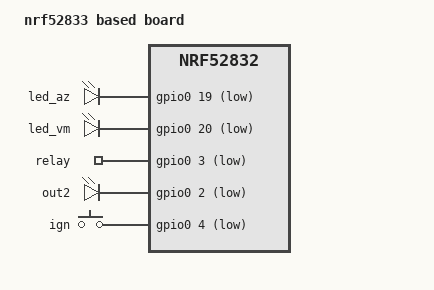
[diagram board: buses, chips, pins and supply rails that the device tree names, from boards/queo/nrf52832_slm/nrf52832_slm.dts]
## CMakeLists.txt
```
#
# Copyright (c) 2018 Nordic Semiconductor
#
# SPDX-License-Identifier: LicenseRef-Nordic-5-Clause
#
cmake_minimum_required(VERSION 3.20.0)

find_package(Zephyr REQUIRED HINTS $ENV{ZEPHYR_BASE})
project(peripheral_lbs_2)

# NORDIC SDK APP START
target_sources(app PRIVATE
  src/main.c
  src/timekeeper.c
)

# NORDIC SDK APP END
```

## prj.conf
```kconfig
CONFIG_GPIO=y
CONFIG_SERIAL=y
CONFIG_CONSOLE=y
CONFIG_UART_CONSOLE=y
CONFIG_LOG=y
# Habilita o driver de PWM
CONFIG_PWM=y

# Habilita o log do sistema (recomendado para ver os LOG_INF)
CONFIG_LOG=y
CONFIG_BT=y
CONFIG_BT_PERIPHERAL=y
CONFIG_BT_DEVICE_NAME="smart-lock-nrf52832"
CONFIG_BT_MAX_CONN=1

# Configurações de Identidade e NVS (Essencial para visibilidade)
CONFIG_BT_SETTINGS=y
CONFIG_FLASH=y
CONFIG_FLASH_MAP=y
CONFIG_NVS=y
CONFIG_SETTINGS=y
CONFIG_BT_ID_MAX=1

# Ajustes de Stack para ESP32-C3 v4.3.99
CONFIG_SYSTEM_WORKQUEUE_STACK_SIZE=4096
CONFIG_BT_RX_STACK_SIZE=4096
CONFIG_BT_HCI_TX_STACK_SIZE=1024
CONFIG_MAIN_STACK_SIZE=4096

# Log imediato para facilitar o debug
CONFIG_LOG_MODE_IMMEDIATE=y

# Potência de rádio (Remova o PLUS_9 se notar instabilidade)
CONFIG_BT_CTLR_TX_PWR_PLUS_3=y

# Memória extra para evitar o "CPU exception"
CONFIG_MAIN_STACK_SIZE=4096
CONFIG_SYSTEM_WORKQUEUE_STACK_SIZE=4096
CONFIG_BT_RX_STACK_SIZE=4096

# Melhora a prioridade do log para não atrasar a stack BT
CONFIG_LOG_MODE_DEFERRED=y
CONFIG_LOG_BUFFER_SIZE=2048

# Reduz a potência para estabilizar o consumo de corrente (evita Brownout)
CONFIG_BT_CTLR_TX_PWR_PLUS_3=y

CONFIG_NEWLIB_LIBC=n
CONFIG_PICOLIBC=y

CONFIG_MINIMAL_LIBC=n
```

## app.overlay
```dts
/* app.overlay */
/ {
	aliases {
		led2 = &led2;       /* Relé (P0.03) */
		ignition = &button0; /* Entrada de Ignição (P0.04) */
	};
};

&button0 {
	gpios = <&gpio0 4 GPIO_ACTIVE_HIGH>; 
	label = "IGN_INPUT";
};
```

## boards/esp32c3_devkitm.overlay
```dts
/ {
	aliases {
		led0 = &user_led0;
		led1 = &user_led1;
		led2 = &user_led2;
		sw0  = &user_button0;
	};

	/* Exemplo: LEDs externos em GPIOs */
	user_led0: led_0 {
		gpios = <&gpio0 8 GPIO_ACTIVE_HIGH>;
		label = "RUN_LED";
	};

	user_led1: led_1 {
		gpios = <&gpio0 9 GPIO_ACTIVE_HIGH>;
		label = "CONN_LED";
	};

	user_led2: led_2 {
		gpios = <&gpio0 10 GPIO_ACTIVE_HIGH>;
		label = "USER_LED";
	};

	user_button0: button_0 {
		gpios = <&gpio0 3 (GPIO_ACTIVE_LOW | GPIO_PULL_UP)>;
		label = "USER_BUTTON";
	};
};
```

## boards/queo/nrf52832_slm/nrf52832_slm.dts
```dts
/dts-v1/;
#include <nordic/nrf52832_qfaa.dtsi>
#include "nrf52832_slm-pinctrl.dtsi"

/ {
	model = "nrf52833 based board";
	compatible = "queo,nrf52832_slm";

	chosen {
		zephyr,sram = &sram0;
		zephyr,flash = &flash0;
		zephyr,code-partition = &slot0_partition;
	};

	leds {
		compatible = "gpio-leds";
		led1: led_1 {
			label = "led_az";
			gpios = <&gpio0 19 (GPIO_ACTIVE_LOW)>;
		};

		led0: led_0 {
			label = "led_vm";
			gpios = <&gpio0 20 (GPIO_ACTIVE_LOW)>;
		};

		led2: led_2 {
			label = "relay";
			gpios = <&gpio0 3 (GPIO_ACTIVE_LOW)>;
		};

		led3: led_3 {
			label = "out2";
			gpios = <&gpio0 2 (GPIO_ACTIVE_LOW)>;
		};
	};

	buttons {
		compatible = "gpio-keys";
		button0: button_0 {
			label = "ign";
			gpios = <&gpio0 4 (GPIO_ACTIVE_LOW | GPIO_PULL_UP)>;
			zephyr,code = <INPUT_KEY_0>;
		};
	};

	/* These aliases are provided for compatibility with samples */
	aliases {
		led0 = &led0;
		led1 = &led1;
		led2 = &led2;
		led3 = &led3;
		sw0 = &button0;
	};
};

&flash0 {
	partitions {
		compatible = "fixed-partitions";
		#address-cells = <1>;
		#size-cells = <1>;

		boot_partition: partition@0 {
			label = "mcuboot";
			reg = <0x00000000 DT_SIZE_K(48)>;
		};

		slot0_partition: partition@c000 {
			label = "image-0";
			reg = <0x0000c000 DT_SIZE_K(220)>;
		};

		slot1_partition: partition@43000 {
			label = "image-1";
			reg = <0x00043000 DT_SIZE_K(220)>;
		};

		storage_partition: partition@7a000 {
			label = "storage";
			reg = <0x0007a000 DT_SIZE_K(24)>;
		};
	};
};
&gpio0 {
	status = "okay";
};

&gpiote {
	status = "okay";
};

&uicr {
	gpio-as-nreset;
};
```

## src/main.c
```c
/*
 * BLE Lock Service (Zephyr) - Versão Moto Segura (Sem PWM)
 * Inclui: Persistência, Sincronização de Tempo, Auditoria e Ignição Segura (P0.04)
 * CORREÇÃO: Bloqueio físico impossível com ignição ligada (independente de múltiplos cliques)
 */

#include <zephyr/kernel.h>
#include <zephyr/device.h>
#include <zephyr/drivers/gpio.h>

#include <zephyr/bluetooth/bluetooth.h>
#include <zephyr/bluetooth/uuid.h>
#include <zephyr/bluetooth/gatt.h>

#include <zephyr/settings/settings.h>
#include <zephyr/logging/log.h>
#include <zephyr/sys/byteorder.h>

#include <string.h>
#include <time.h>
#include <errno.h>

#include "timekeeper.h"

LOG_MODULE_REGISTER(app, LOG_LEVEL_INF);

/* ============================================================================
 * Protótipos
 * ========================================================================== */
static void update_lock(uint8_t locked);
static void format_epoch_ms_brt(int64_t epoch_ms, char *out, size_t out_sz);
static void auto_lock_timer_handler(struct k_timer *dummy);
static void lock_notify_work_handler(struct k_work *work);
static void start_advertising(void);
static void notify_app_status(const char *msg);

/* ============================================================================
 * 1) UUIDs e Globais
 * ========================================================================== */
#define UUID_SERVICE     BT_UUID_128_ENCODE(0x00001523, 0x1212, 0xefde, 0x1523, 0x785feabcd123)
#define UUID_LOCK_STATUS_VAL BT_UUID_128_ENCODE(0x00001524, 0x1212, 0xefde, 0x1523, 0x785feabcd123)
#define UUID_LOCK_CTRL_VAL   BT_UUID_128_ENCODE(0x00001525, 0x1212, 0xefde, 0x1523, 0x785feabcd123)
#define UUID_TIME_SYNC_VAL   BT_UUID_128_ENCODE(0x00001526, 0x1212, 0xefde, 0x1523, 0x785feabcd123)

static struct bt_uuid_128 svc_uuid       = BT_UUID_INIT_128(UUID_SERVICE);
static struct bt_uuid_128 status_uuid    = BT_UUID_INIT_128(UUID_LOCK_STATUS_VAL);
static struct bt_uuid_128 ctrl_uuid      = BT_UUID_INIT_128(UUID_LOCK_CTRL_VAL);
static struct bt_uuid_128 time_sync_uuid = BT_UUID_INIT_128(UUID_TIME_SYNC_VAL);

static uint8_t lock_state = 1; 
static bool lock_notify_enabled = false;
static char lock_status_buf[32] = "LOCKED";
static struct bt_conn *current_conn = NULL;
static bool lock_pending = false;
static struct k_work lock_notify_work;
static struct k_work adv_restart_work;

static const struct gpio_dt_spec run_led   = GPIO_DT_SPEC_GET(DT_ALIAS(led0), gpios);
static const struct gpio_dt_spec lock_gpio = GPIO_DT_SPEC_GET(DT_ALIAS(led2), gpios);
static const struct gpio_dt_spec ign_gpio  = GPIO_DT_SPEC_GET(DT_ALIAS(ignition), gpios);
static struct gpio_callback ign_cb_data;

K_TIMER_DEFINE(auto_lock_timer, auto_lock_timer_handler, NULL);

/* ============================================================================
 * 2) Persistência (Settings)
 * ========================================================================== */
#define SETTINGS_KEY "app/lock_state"

static int lock_settings_set(const char *name, size_t len, settings_read_cb read_cb, void *cb_arg)
{
    if (strcmp(name, "lock_state") == 0) {
        if (len != sizeof(lock_state)) return -EINVAL;
        read_cb(cb_arg, &lock_state, sizeof(lock_state));
        LOG_INF("[SETTINGS] Estado carregado: %s", lock_state ? "LOCKED" : "UNLOCKED");
        
        if (lock_gpio.port) gpio_pin_set_dt(&lock_gpio, !lock_state);
        strcpy(lock_status_buf, lock_state ? "LOCKED" : "UNLOCKED");
        return 0;
    }
    return -ENOENT;
}

static struct settings_handler lock_conf = { .name = "app", .h_set = lock_settings_set };

/* ============================================================================
 * 3) Auxiliares e Tempo
 * ========================================================================== */
static void str_to_upper(char *s) {
    for (int i = 0; s[i]; i++) if (s[i] >= 'a' && s[i] <= 'z') s[i] -= 32;
}

static void format_epoch_ms_brt(int64_t epoch_ms, char *out, size_t out_sz) {
    if (!out || out_sz == 0) return;
    const int32_t tz_off_sec = -3 * 3600;
    int64_t adj_ms = epoch_ms + (int64_t)tz_off_sec * 1000;
    time_t sec = (time_t)(adj_ms / 1000);
    int32_t msec = (int32_t)(adj_ms % 1000);
    if (msec < 0) msec = -msec;
    struct tm tm_brt;
    gmtime_r(&sec, &tm_brt);
    snprintk(out, out_sz, "%04d-%02d-%02d %02d:%02d:%02d.%03d BRT",
             tm_brt.tm_year + 1900, tm_brt.tm_mon + 1, tm_brt.tm_mday,
             tm_brt.tm_hour, tm_brt.tm_min, tm_brt.tm_sec, (int)msec);
}

static int64_t days_from_civil(int32_t y, uint32_t m, uint32_t d) {
    y -= (m <= 2);
    const int32_t era = (y >= 0 ? y : y - 399) / 400;
    const uint32_t yoe = (uint32_t)(y - era * 400);
    const uint32_t doy = (153 * (m + (m > 2 ? -3 : 9)) + 2) / 5 + d - 1;
    const uint32_t doe = yoe * 365 + yoe / 4 - yoe / 100 + doy;
    return (int64_t)era * 146097 + (int64_t)doe - 719468;
}

static bool is_leap(int y) { return ((y % 4 == 0) && (y % 100 != 0)) || (y % 400 == 0); }

static bool validate_ymdhms(int y, int mon, int day, int h, int min, int s) {
    if (y < 2000 || y > 2099 || mon < 1 || mon > 12 || h < 0 || h > 23 || min < 0 || min > 59 || s < 0 || s > 59) return false;
    static const uint8_t mdays[12] = {31,28,31,30,31,30,31,31,30,31,30,31};
    int dim = mdays[mon - 1];
    if (mon == 2 && is_leap(y)) dim = 29;
    return (day >= 1 && day <= dim);
}

static int64_t ymdhms_to_epoch_ms_utc(int y, int mon, int day, int h, int min, int sec) {
    int64_t days = days_from_civil(y, (uint32_t)mon, (uint32_t)day);
    return (days * 86400LL + (int64_t)h * 3600LL + (int64_t)min * 60LL + (int64_t)sec) * 1000LL;
}

/* ============================================================================
 * 4) Lógica de Ignição e Bloqueio (MODIFICADO PARA SEGURANÇA REAL)
 * ========================================================================== */
static void update_lock(uint8_t locked)
{
    bool ignition_on = (gpio_pin_get_dt(&ign_gpio) > 0);

    // 1. REGRA DE SEGURANÇA MÁXIMA
    // Se a ignição estiver ligada, bloqueamos qualquer comando de trancar (locked=1).
    if (locked && ignition_on)
    {
        // Se ainda não estava pendente, avisamos o app.
        // Se já estava pendente, apenas ignoramos o comando repetido sem descer para o relé.
        if (!lock_pending) {
            lock_pending = true; 
            notify_app_status("RECEIVED_COMMAND");
            LOG_INF("Ignição ativa. Bloqueio físico impedido e agendado.");
        }
        return; // SAI DA FUNÇÃO. Nunca executará gpio_pin_set_dt abaixo.
    }

    // 2. Atualização Física e Persistência
    // Chegamos aqui se: For UNLOCK ou (For LOCK e Ignição desligada)
    lock_state = locked ? 1 : 0;
    settings_save_one(SETTINGS_KEY, &lock_state, sizeof(lock_state));

    if (lock_gpio.port)
        gpio_pin_set_dt(&lock_gpio, !lock_state);

    // 3. Auditoria
    int64_t now;
    if (timekeeper_now_epoch_ms(&now) == 0)
    {
        char ts[64];
        format_epoch_ms_brt(now, ts, sizeof(ts));
        LOG_INF(">>> [AUDITORIA] %s em %s", lock_state ? "LOCKED" : "UNLOCKED", ts);
    }

    // 4. Notificação Inteligente
    if (lock_state == 1)
    {
        if (lock_pending)
        {
            notify_app_status("LOCKED_NOW");
            lock_pending = false; 
        }
        else
        {
            notify_app_status("LOCKED");
        }
    }
    else
    {
        notify_app_status("UNLOCKED");
        lock_pending = false; // Se destrancar manualmente, cancela agendamento
    }

    // 5. Gestão do Timer (Auto-Lock)
    if (lock_state == 0 && !ignition_on)
    {
        k_timer_start(&auto_lock_timer, K_SECONDS(15), K_NO_WAIT);
    }
    else
    {
        k_timer_stop(&auto_lock_timer);
    }
}

static void notify_app_status(const char *msg)
{
    strncpy(lock_status_buf, msg, sizeof(lock_status_buf) - 1);
    k_work_submit(&lock_notify_work);
    LOG_INF("Notificação enviada ao App: %s", msg);
}

void ignition_handler(const struct device *dev, struct gpio_callback *cb, uint32_t pins) {
    if (gpio_pin_get_dt(&ign_gpio) == 0) {
        LOG_INF("Chave desligada. Bloqueando moto...");
        update_lock(1);
    } else {
        LOG_INF("Chave ligada. Parando timers de auto-lock.");
        k_timer_stop(&auto_lock_timer);
    }
}

static void auto_lock_timer_handler(struct k_timer *dummy) { update_lock(1); }

/* ============================================================================
 * 5) GATT Callbacks
 * ========================================================================== */
static void lock_notify_work_handler(struct k_work *work) {
    if (current_conn && lock_notify_enabled) {
        bt_gatt_notify_uuid(current_conn, &status_uuid.uuid, NULL, lock_status_buf, strlen(lock_status_buf));
    }
}

static ssize_t on_read_status(struct bt_conn *conn, const struct bt_gatt_attr *attr, void *buf, uint16_t len, uint16_t offset) {
    return bt_gatt_attr_read(conn, attr, buf, len, offset, lock_status_buf, strlen(lock_status_buf));
}

static ssize_t on_write_ctrl(struct bt_conn *conn, const struct bt_gatt_attr *attr,
                             const void *buf, uint16_t len, uint16_t offset, uint8_t flags)
{
    if (offset != 0 || len == 0) return BT_GATT_ERR(BT_ATT_ERR_INVALID_OFFSET);

    char cmd[16] = {0};
    memcpy(cmd, buf, MIN(len, sizeof(cmd) - 1));
    str_to_upper(cmd);

    if (strstr(cmd, "UNLOCK"))
    {
        update_lock(0);
    }
    else if (strstr(cmd, "LOCK"))
    {
        update_lock(1);
    }
    else if (strstr(cmd, "TOGGLE"))
    {
        // Toggle agora respeita a regra: se estiver aberto (0), tenta fechar (1).
        update_lock(lock_state == 0 ? 1 : 0);
    }

    return len;
}

static ssize_t on_write_time_sync(struct bt_conn *conn, const struct bt_gatt_attr *attr, const void *buf, uint16_t len, uint16_t offset, uint8_t flags) {
    if (offset != 0 || len != 7) return BT_GATT_ERR(BT_ATT_ERR_INVALID_ATTRIBUTE_LEN);
    const uint8_t *p = (const uint8_t *)buf;
    int year = 2000 + p[0], month = p[1], day = p[2], hour = p[3], minute = p[4], second = p[5];
    if (!validate_ymdhms(year, month, day, hour, minute, second)) return BT_GATT_ERR(BT_ATT_ERR_UNLIKELY);
    const int32_t brt_off_sec = -3 * 3600;
    int64_t epoch_ms_utc = ymdhms_to_epoch_ms_utc(year, month, day, hour, minute, second) - ((int64_t)brt_off_sec * 1000LL);
    timekeeper_validate_and_sync_ms(epoch_ms_utc, 2000);
    k_work_submit(&lock_notify_work);
    return len;
}

static void on_ccc_changed(const struct bt_gatt_attr *attr, uint16_t value) {
    lock_notify_enabled = (value & BT_GATT_CCC_NOTIFY) != 0;
}

BT_GATT_SERVICE_DEFINE(lock_svc,
    BT_GATT_PRIMARY_SERVICE(&svc_uuid),
    BT_GATT_CHARACTERISTIC(&status_uuid.uuid, BT_GATT_CHRC_READ | BT_GATT_CHRC_NOTIFY, BT_GATT_PERM_READ, on_read_status, NULL, NULL),
    BT_GATT_CCC(on_ccc_changed, BT_GATT_PERM_READ | BT_GATT_PERM_WRITE),
    BT_GATT_CHARACTERISTIC(&ctrl_uuid.uuid, BT_GATT_CHRC_WRITE | BT_GATT_CHRC_WRITE_WITHOUT_RESP, BT_GATT_PERM_WRITE, NULL, on_write_ctrl, NULL),
    BT_GATT_CHARACTERISTIC(&time_sync_uuid.uuid, BT_GATT_CHRC_WRITE | BT_GATT_CHRC_WRITE_WITHOUT_RESP, BT_GATT_PERM_WRITE, NULL, on_write_time_sync, NULL),
);

/* ============================================================================
 * 6) BLE Advertising (Build v3.2.1)
 * ========================================================================== */
static void start_advertising(void) {
    struct bt_data ad[] = {
        BT_DATA_BYTES(BT_DATA_FLAGS, (BT_LE_AD_GENERAL | BT_LE_AD_NO_BREDR)),
        BT_DATA_BYTES(BT_DATA_UUID128_ALL, UUID_SERVICE),
        BT_DATA(BT_DATA_NAME_COMPLETE, CONFIG_BT_DEVICE_NAME, (sizeof(CONFIG_BT_DEVICE_NAME) - 1)),
    };
    bt_le_adv_start(BT_LE_ADV_PARAM(BT_LE_ADV_OPT_CONN | BT_LE_ADV_OPT_USE_IDENTITY, 
                    BT_GAP_ADV_FAST_INT_MIN_2, BT_GAP_ADV_FAST_INT_MAX_2, NULL), 
                    ad, ARRAY_SIZE(ad), NULL, 0);
}

static void adv_restart_work_handler(struct k_work *work) {
    bt_le_adv_stop();
    k_sleep(K_MSEC(50));
    start_advertising();
}

static void connected(struct bt_conn *conn, uint8_t err) { if (!err) current_conn = bt_conn_ref(conn); }
static void disconnected(struct bt_conn *conn, uint8_t reason) {
    if (current_conn) { bt_conn_unref(current_conn); current_conn = NULL; }
    lock_notify_enabled = false;
    k_work_submit(&adv_restart_work);
}
BT_CONN_CB_DEFINE(conn_callbacks) = { .connected = connected, .disconnected = disconnected };

static void bt_ready(int err) {
    if (err) return;
    settings_subsys_init();
    settings_register(&lock_conf);
    settings_load();
    start_advertising();
}

/* ============================================================================
 * 7) Main
 * ========================================================================== */
int main(void) {
    k_work_init(&adv_restart_work, adv_restart_work_handler);
    k_work_init(&lock_notify_work, lock_notify_work_handler);
    (void)timekeeper_init(); 

    if (run_led.port) gpio_pin_configure_dt(&run_led, GPIO_OUTPUT_ACTIVE);
    if (lock_gpio.port) {
        gpio_pin_configure_dt(&lock_gpio, GPIO_OUTPUT_INACTIVE);
        gpio_pin_set_dt(&lock_gpio, !lock_state);
    }
    if (ign_gpio.port) {
        gpio_pin_configure_dt(&ign_gpio, GPIO_INPUT);
        gpio_pin_interrupt_configure_dt(&ign_gpio, GPIO_INT_EDGE_BOTH);
        gpio_init_callback(&ign_cb_data, ignition_handler, BIT(ign_gpio.pin));
        gpio_add_callback(ign_gpio.port, &ign_cb_data);
    }

    bt_enable(bt_ready);

    while (1) {
        if (run_led.port) gpio_pin_toggle_dt(&run_led);
        
        // Bloqueio extra redundante no loop principal
        if (gpio_pin_get_dt(&ign_gpio) > 0 && lock_state == 0) {
            k_timer_stop(&auto_lock_timer);
        }
        k_sleep(K_SECONDS(1));
    }
    return 0;
}
```

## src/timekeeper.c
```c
#include "timekeeper.h"
#include <zephyr/settings/settings.h>
#include <zephyr/kernel.h>
#include <string.h>
#include <errno.h>

#define SETTINGS_KEY_VALID   "clock/valid"
#define SETTINGS_KEY_EPOCH   "clock/epoch_ms"

static bool    g_valid = false;
static int64_t g_epoch_ms = 0;   /* persistido */
static int64_t g_off_ms   = 0;   /* derivado */

static bool loaded_valid = false;
static bool loaded_epoch = false;
static bool legacy_off_ms_found = false;

static int64_t mono_ms(void)
{
    return (int64_t)k_uptime_get();
}

static void recompute_offset(void)
{
    g_off_ms = g_epoch_ms - mono_ms();
}

/* <<< NÃO CHAME isso de settings_commit >>> */
static int clock_settings_commit(void)
{
    /* Se achou schema antigo, limpa e força resync */
    if (legacy_off_ms_found) {
        (void)settings_delete("clock/off_ms");
        (void)settings_delete("clock/valid");

        g_valid = false;
        g_epoch_ms = 0;
        g_off_ms = 0;
        return 0;
    }

    /* Só considera válido se tiver valid + epoch_ms e valid==true */
    if (!(loaded_valid && loaded_epoch && g_valid)) {
        g_valid = false;
        g_epoch_ms = 0;
        g_off_ms = 0;
        return 0;
    }

    recompute_offset();
    return 0;
}

static int clock_settings_set(const char *key, size_t len,
                              settings_read_cb read_cb, void *cb_arg)
{
    ARG_UNUSED(len);
    ssize_t rc;

    if (!strcmp(key, "valid")) {
        rc = read_cb(cb_arg, &g_valid, sizeof(g_valid));
        if (rc >= 0) loaded_valid = true;
        return (rc >= 0) ? 0 : rc;
    }

    if (!strcmp(key, "epoch_ms")) {
        rc = read_cb(cb_arg, &g_epoch_ms, sizeof(g_epoch_ms));
        if (rc >= 0) loaded_epoch = true;
        return (rc >= 0) ? 0 : rc;
    }

    /* legado: só marca que existe e consome os bytes */
    if (!strcmp(key, "off_ms")) {
        int64_t dummy;
        rc = read_cb(cb_arg, &dummy, sizeof(dummy));
        if (rc >= 0) legacy_off_ms_found = true;
        return (rc >= 0) ? 0 : rc;
    }

    return -ENOENT;
}

static struct settings_handler sh = {
    .name = "clock",
    .h_set = clock_settings_set,
    .h_commit = clock_settings_commit,
};

int timekeeper_init(void)
{
    /* zera flags a cada boot */
    loaded_valid = false;
    loaded_epoch = false;
    legacy_off_ms_found = false;

    int err = settings_subsys_init();
    if (err && err != -EALREADY) {
        return err;
    }

    return settings_register(&sh);
}

bool timekeeper_is_valid(void)
{
    return g_valid;
}

int timekeeper_now_epoch_ms(int64_t *epoch_ms_out)
{
    if (!epoch_ms_out) return -EINVAL;
    if (!g_valid) return -ENODATA;

    *epoch_ms_out = mono_ms() + g_off_ms;
    return 0;
}

int timekeeper_sync_epoch_ms(int64_t phone_epoch_ms)
{
    g_epoch_ms = phone_epoch_ms;
    g_valid = true;
    recompute_offset();

    int err = settings_save_one(SETTINGS_KEY_EPOCH, &g_epoch_ms, sizeof(g_epoch_ms));
    if (err) return err;

    return settings_save_one(SETTINGS_KEY_VALID, &g_valid, sizeof(g_valid));
}

int timekeeper_validate_and_sync_ms(int64_t phone_epoch_ms, int64_t threshold_ms)
{
    int64_t now;
    int err = timekeeper_now_epoch_ms(&now);

    if (err == 0) {
        int64_t delta = phone_epoch_ms - now;
        if (delta < 0) delta = -delta;
        if (delta <= threshold_ms) return 0;
    }

    return timekeeper_sync_epoch_ms(phone_epoch_ms);
}
```

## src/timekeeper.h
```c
#ifndef TIMEKEEPER_H_
#define TIMEKEEPER_H_

#include <stdint.h>
#include <stdbool.h>

int timekeeper_init(void);
bool timekeeper_is_valid(void);
int timekeeper_now_epoch_ms(int64_t *epoch_ms_out);
int timekeeper_sync_epoch_ms(int64_t phone_epoch_ms);
int timekeeper_validate_and_sync_ms(int64_t phone_epoch_ms, int64_t threshold_ms);

#endif
```
